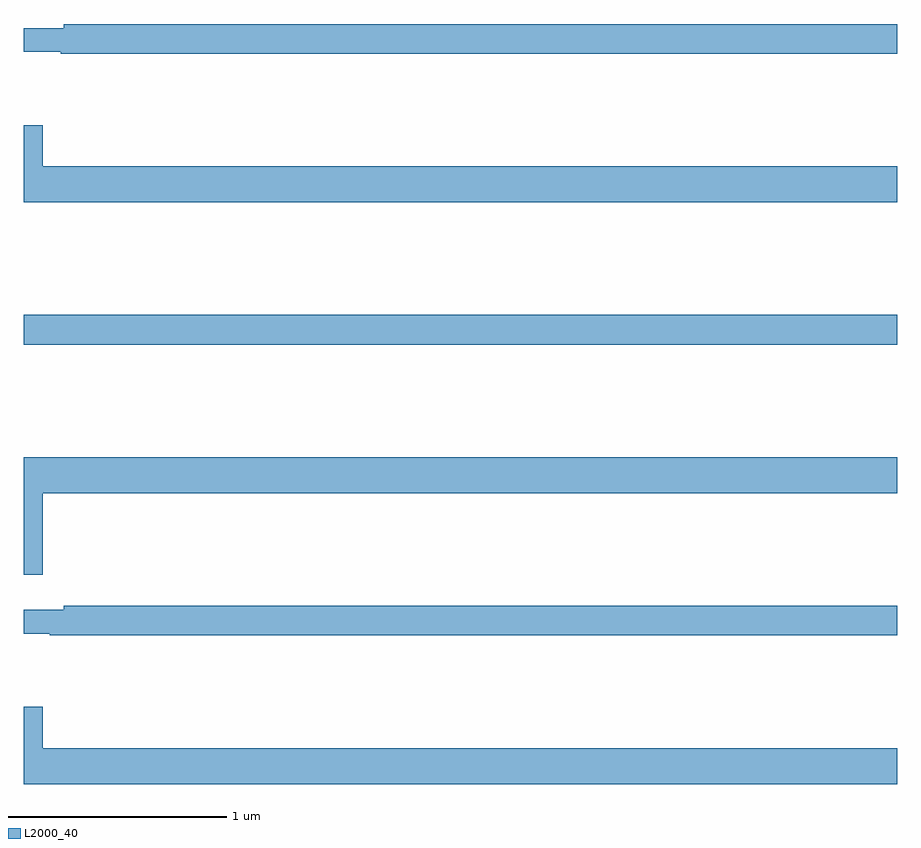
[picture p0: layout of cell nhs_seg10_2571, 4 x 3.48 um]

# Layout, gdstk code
import gdstk
lib = gdstk.Library(unit=1e-6, precision=1e-09)
def R(c, l, rs):  # rectangles x0, y0, x1, y1
    for r in rs: c.add(gdstk.rectangle(r[:2], r[2:], *l))
def P(c, l, *ps):  # polygons
    for p in ps: c.add(gdstk.Polygon(p, *l))
L2000_40 = (2000, 40)

nhs_seg10_2571 = lib.new_cell('nhs_seg10_2571')
R(nhs_seg10_2571, L2000_40, [(249,1316.98,253,1317.116)])
P(nhs_seg10_2571, L2000_40, [(253,1318.448),(249.184,1318.448),(249.184,1318.429),(249,1318.429),(249,1318.32),(249.17,1318.32),(249.17,1318.312),(253,1318.312)],
  [(253,1317.796),(249.088,1317.796),(249.088,1317.985),(249,1317.985),(249,1317.632),(253,1317.632)],
  [(249.088,1316.3),(253,1316.3),(253,1316.464),(249,1316.464),(249,1315.926),(249.088,1315.926)],
  [(253,1315.784),(249.184,1315.784),(249.184,1315.765),(249,1315.765),(249,1315.656),(249.12,1315.656),(249.12,1315.648),(253,1315.648)],
  [(253,1315.132),(249.088,1315.132),(249.088,1315.321),(249,1315.321),(249,1314.968),(253,1314.968)])

lib.write_gds('nhs_seg10_2571.gds')
